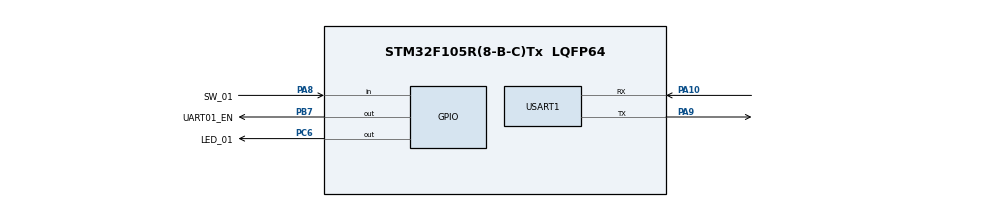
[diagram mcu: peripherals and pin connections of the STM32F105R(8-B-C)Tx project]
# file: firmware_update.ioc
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Mcu.Family=STM32F1
Mcu.Name=STM32F105R(8-B-C)Tx
Mcu.Package=LQFP64
NVIC.PriorityGroup=NVIC_PRIORITYGROUP_4
PA10.Mode=Asynchronous
PA10.Signal=USART1_RX
PA13.Mode=Serial_Wire
PA13.Signal=SYS_JTMS-SWDIO
PA14.Mode=Serial_Wire
PA14.Signal=SYS_JTCK-SWCLK
PA8.GPIO_Label=SW_01
PA8.Signal=GPIO_Input
PA9.Mode=Asynchronous
PA9.Signal=USART1_TX
PB7.GPIO_Label=UART01_EN
PB7.Signal=GPIO_Output
PC6.GPIO_Label=LED_01
PC6.Signal=GPIO_Output
PD0-OSC_IN.Mode=HSE-External-Oscillator
PD0-OSC_IN.Signal=RCC_OSC_IN
PD1-OSC_OUT.Mode=HSE-External-Oscillator
PD1-OSC_OUT.Signal=RCC_OSC_OUT
ProjectManager.HeapSize=0x200
ProjectManager.StackSize=0x400
ProjectManager.TargetToolchain=STM32CubeIDE
RCC.AHBFreq_Value=72000000
RCC.APB1CLKDivider=RCC_HCLK_DIV2
RCC.APB1Freq_Value=36000000
RCC.APB1TimFreq_Value=72000000
RCC.APB2Freq_Value=72000000
RCC.APB2TimFreq_Value=72000000
RCC.HCLKFreq_Value=72000000
RCC.PLLMUL=RCC_PLL_MUL9
RCC.PLLSourceVirtual=RCC_PLLSOURCE_HSE
RCC.SYSCLKFreq_VALUE=72000000
RCC.SYSCLKSource=RCC_SYSCLKSOURCE_PLLCLK
RCC.USBFreq_Value=48000000
USART1.VirtualMode=VM_ASYNC
board=custom

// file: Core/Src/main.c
/* USER CODE BEGIN Header */
/**
  ******************************************************************************
  * @file           : main.c
  * @brief          : Main program body
  ******************************************************************************
  * @attention
  *
  * <h2><center>&copy; Copyright (c) 2021 STMicroelectronics.
  * All rights reserved.</center></h2>
  *
  * This software component is licensed by ST under BSD 3-Clause license,
  * the "License"; You may not use this file except in compliance with the
  * License. You may obtain a copy of the License at:
  *                        opensource.org/licenses/BSD-3-Clause
  *
  ******************************************************************************
  */
/* USER CODE END Header */
#include "main.h"
#include "usart.h"
#include "gpio.h"

/* USER CODE BEGIN Includes */
#include "menu.h"

/* USER CODE END Includes */

/* USER CODE BEGIN PTD */
extern pFunction JumpToApplication;
extern uint32_t JumpAddress;

/* USER CODE END PTD */

/* USER CODE BEGIN PM */
int __io_putchar(int ch)
{
	HAL_GPIO_WritePin(UART01_EN_GPIO_Port, UART01_EN_Pin, GPIO_PIN_SET);
	while(HAL_OK != HAL_UART_Transmit(&huart1, (uint8_t *)&ch, 1, 100))
	{}
	HAL_GPIO_WritePin(UART01_EN_GPIO_Port, UART01_EN_Pin, GPIO_PIN_RESET);
	return ch;
}

/* USER CODE END PM */

void SystemClock_Config(void);
/* USER CODE BEGIN PFP */
#define _UART_LOG_PRINT 1

/*
#if _UART_LOG_PRINT
//�???�??? ?��?�� 매크�???
#define LOG_PRINTF(fmt, ...) printf(fmt, ##__VA_ARGS__)

#else
#define LOG_PRINTF(fmt, ...)
#endif
*/

/* USER CODE END PFP */

/* USER CODE BEGIN 0 */
/*int __io_putchar(int ch)
{
	HAL_GPIO_WritePin(UART01_EN_GPIO_Port, UART01_EN_Pin, GPIO_PIN_SET);
	while(HAL_OK != HAL_UART_Transmit(&huart1, (uint8_t *)&ch, 1, 100))
	{}
	HAL_GPIO_WritePin(UART01_EN_GPIO_Port, UART01_EN_Pin, GPIO_PIN_RESET);
	return ch;
}*/

/* USER CODE END 0 */

int main(void)
{

  /* MCU Configuration--------------------------------------------------------*/

  /* Reset of all peripherals, Initializes the Flash interface and the Systick. */
  HAL_Init();

  /* Configure the system clock */
  SystemClock_Config();

  /* Initialize all configured peripherals */
  MX_GPIO_Init();
  MX_USART1_UART_Init();
  /* USER CODE BEGIN 2 */

  if(HAL_GPIO_ReadPin(SW_01_GPIO_Port, SW_01_Pin)){
	  FLASH_If_Init();
	  Main_Menu ();
  }

  else{
	/* Test if user code is programmed starting from address "APPLICATION_ADDRESS" */
	if (((*(__IO uint32_t*)APPLICATION_ADDRESS) & 0x2FFE0000 ) == 0x20000000)
	{
	  /* Jump to user application */
	  JumpAddress = *(__IO uint32_t*) (APPLICATION_ADDRESS + 4);
	  JumpToApplication = (pFunction) JumpAddress;
	  /* Initialize user application's Stack Pointer */
	  __set_MSP(*(__IO uint32_t*) APPLICATION_ADDRESS);
	  JumpToApplication();
	}
  }

  /* USER CODE END 2 */

  /* Infinite loop */
  while (1)
  {

    /* USER CODE BEGIN 3 */
	  HAL_GPIO_TogglePin(LED_01_GPIO_Port, LED_01_Pin);
	  HAL_Delay(1000);

  }
  /* USER CODE END 3 */
}

void SystemClock_Config(void)
{
  LL_FLASH_SetLatency(LL_FLASH_LATENCY_2);
  while(LL_FLASH_GetLatency()!= LL_FLASH_LATENCY_2)
  {
  }
  LL_RCC_HSE_Enable();

   /* Wait till HSE is ready */
  while(LL_RCC_HSE_IsReady() != 1)
  {

  }
  LL_RCC_PLL_ConfigDomain_SYS(LL_RCC_PLLSOURCE_HSE_DIV_1, LL_RCC_PLL_MUL_9);
  LL_RCC_PLL_Enable();

   /* Wait till PLL is ready */
  while(LL_RCC_PLL_IsReady() != 1)
  {

  }
  LL_RCC_SetAHBPrescaler(LL_RCC_SYSCLK_DIV_1);
  LL_RCC_SetAPB1Prescaler(LL_RCC_APB1_DIV_2);
  LL_RCC_SetAPB2Prescaler(LL_RCC_APB2_DIV_1);
  LL_RCC_SetSysClkSource(LL_RCC_SYS_CLKSOURCE_PLL);

   /* Wait till System clock is ready */
  while(LL_RCC_GetSysClkSource() != LL_RCC_SYS_CLKSOURCE_STATUS_PLL)
  {

  }
  LL_SetSystemCoreClock(72000000);

   /* Update the time base */
  if (HAL_InitTick (TICK_INT_PRIORITY) != HAL_OK)
  {
    Error_Handler();
  }
}

void Error_Handler(void)
{
  __disable_irq();
  while (1)
  {
  }
}

/************************ (C) COPYRIGHT STMicroelectronics *****END OF FILE****/
